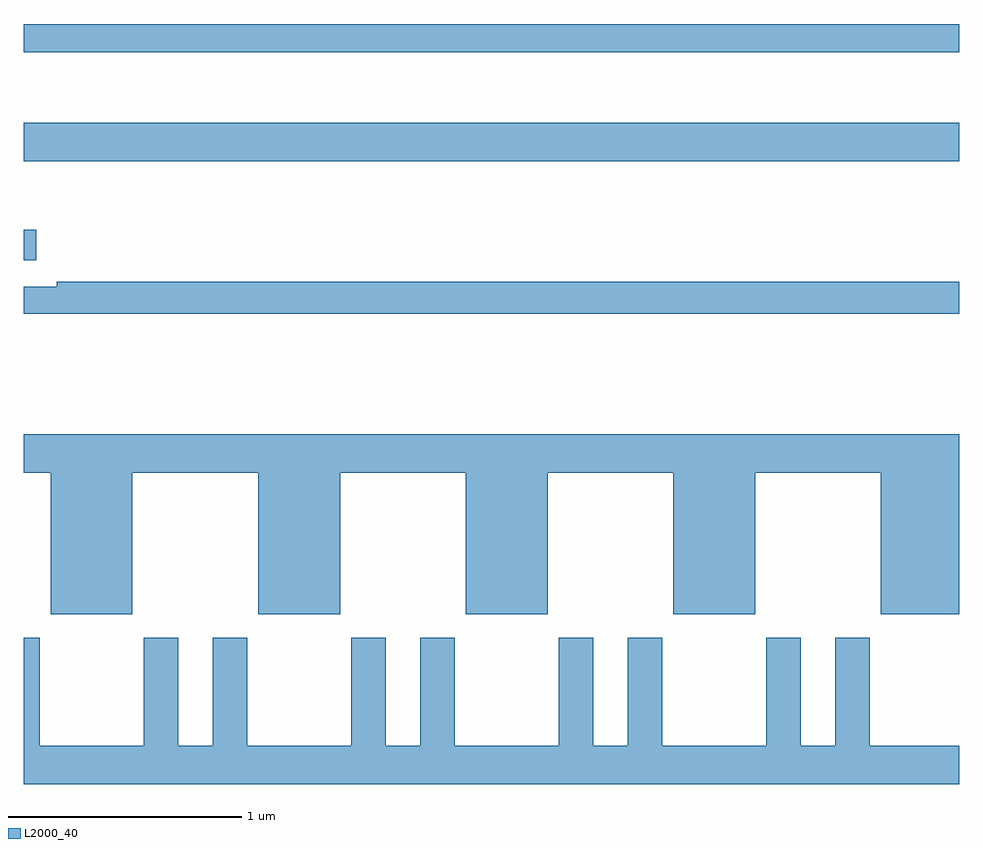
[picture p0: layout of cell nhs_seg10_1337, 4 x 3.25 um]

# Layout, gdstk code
import gdstk
lib = gdstk.Library(unit=1e-6, precision=1e-09)
def R(c, l, rs):  # rectangles x0, y0, x1, y1
    for r in rs: c.add(gdstk.rectangle(r[:2], r[2:], *l))
def P(c, l, *ps):  # polygons
    for p in ps: c.add(gdstk.Polygon(p, *l))
L2000_40 = (2000, 40)

nhs_seg10_1337 = lib.new_cell('nhs_seg10_1337')
R(nhs_seg10_1337, L2000_40, [(179,1329.197,179.053,1329.327), (179,1329.62,183,1329.784), (179,1330.086,183,1330.207)])
P(nhs_seg10_1337, L2000_40, [(183,1329.104),(179.14,1329.104),(179.14,1329.084),(179,1329.084),(179,1328.968),(183,1328.968)],
  [(179.464,1328.288),(180.002,1328.288),(180.002,1327.682),(180.352,1327.682),(180.352,1328.288),(180.89,1328.288),(180.89,1327.682),(181.24,1327.682),(181.24,1328.288),(181.778,1328.288),(181.778,1327.682),(182.128,1327.682),(182.128,1328.288),(182.666,1328.288),(182.666,1327.682),(183,1327.682),(183,1328.452),(179,1328.452),(179,1328.288),(179.114,1328.288),(179.114,1327.682),(179.464,1327.682)],
  [(183,1327.12),(182.619,1327.12),(182.619,1327.582),(182.471,1327.582),(182.471,1327.12),(182.323,1327.12),(182.323,1327.582),(182.176,1327.582),(182.176,1327.12),(181.731,1327.12),(181.731,1327.582),(181.583,1327.582),(181.583,1327.12),(181.435,1327.12),(181.435,1327.582),(181.288,1327.582),(181.288,1327.12),(180.843,1327.12),(180.843,1327.582),(180.695,1327.582),(180.695,1327.12),(180.547,1327.12),(180.547,1327.582),(180.4,1327.582),(180.4,1327.12),(179.955,1327.12),(179.955,1327.582),(179.807,1327.582),(179.807,1327.12),(179.659,1327.12),(179.659,1327.582),(179.512,1327.582),(179.512,1327.12),(179.067,1327.12),(179.067,1327.582),(179,1327.582),(179,1326.956),(183,1326.956)])

lib.write_gds('nhs_seg10_1337.gds')
